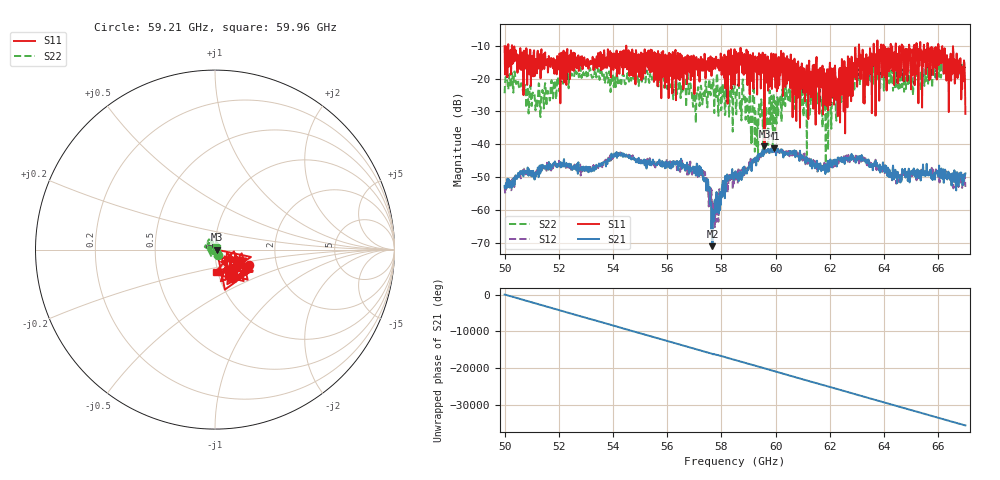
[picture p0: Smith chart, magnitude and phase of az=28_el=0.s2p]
!Created with skrf (http://scikit-rf.org).
# GHz S RI R 50.0
!freq ReS11 ImS11 ReS21 ImS21 ReS12 ImS12 ReS22 ImS22
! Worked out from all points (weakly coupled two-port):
!   1001 points, 50 GHz to 67 GHz, reference 50 ohm
!   highest |S21| = -41.21 dB at 59.93 GHz (marker M1); lowest = -71.1 dB at 57.67 GHz (marker M2)
!   lowest |S11| = -40.7 dB at 59.59 GHz (marker M3), VSWR 1.02, Z = 50.9 - j0.0579 ohm
!   |S11| at or under -10 dB: 50.27 GHz to 54.49 GHz (4.216 GHz wide, 8.05 % of centre); 54.49 GHz to 63.07 GHz (8.584 GHz wide, 14.6 % of centre); 66.01 GHz to end of sweep (the widest 3 of 19)
!   |S22| runs from -45.9 to -13.7 dB; largest |S21 - S12| = 0.0022
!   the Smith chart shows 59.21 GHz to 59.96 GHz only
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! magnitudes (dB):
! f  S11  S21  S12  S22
! 50 GHz  -10.2  -52.7  -52.8  -24.5
! 51.38 GHz  -17.3  -46.5  -47.3  -24.3
! 52.84 GHz  -14.3  -47.2  -47.9  -19.8
! 54.25 GHz  -15.5  -43.4  -42.7  -21.4
! 55.68 GHz  -13.5  -45.3  -46.7  -22.4
! 57.17 GHz  -15.1  -49.8  -46.9  -25.5
! 57.48 GHz  -17.4  -50.6  -51.8  -28.8
! 57.67 GHz  -13.7  -71.1  -60.1  -23.3
! 58.5 GHz  -21.9  -49.5  -50.9  -23.4
! 59.32 GHz  -24.9  -44.3  -44.1  -33.4
! 59.59 GHz  -40.7  -42.8  -42.5  -32.8
! 59.93 GHz  -12.5  -41.2  -41.4  -24.6
! 60.64 GHz  -14.5  -42.0  -43.3  -21.5
! 61.34 GHz  -24.7  -47.4  -45.1  -24.4
! 61.88 GHz  -28.5  -48.5  -45.8  -22.2
! 62.61 GHz  -20.5  -44.2  -43.4  -21.2
! 63.01 GHz  -22.5  -43.8  -43.7  -20.0
! 63.33 GHz  -22.0  -44.8  -46.2  -19.9
! 64.18 GHz  -17.9  -50.0  -48.8  -18.3
! 66.08 GHz  -15.2  -50.3  -47.0  -15.7
! 66.75 GHz  -18.5  -52.7  -53.0  -18.8
! 67 GHz  -30.8  -48.9  -53.0  -16.0
